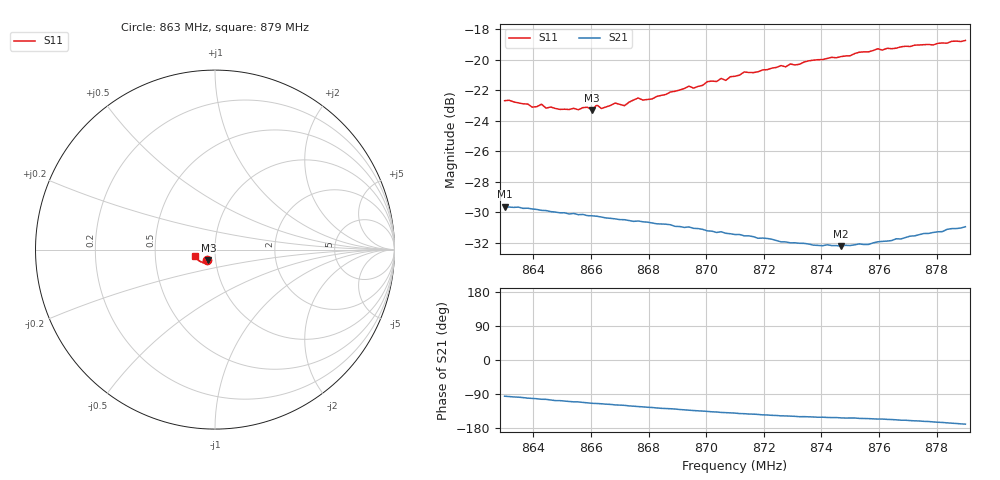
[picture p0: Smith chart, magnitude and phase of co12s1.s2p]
# HZ S RI R 50
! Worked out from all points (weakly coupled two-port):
!   101 points, 863 MHz to 879 MHz, reference 50 ohm
!   highest |S21| = -29.63 dB at 863 MHz (marker M1); lowest = -32.2 dB at 874.68 MHz (marker M2)
!   lowest |S11| = -23.3 dB at 866.04 MHz (marker M3), VSWR 1.15, Z = 46.2 - j5.36 ohm
!   |S11| at or under -10 dB: start of sweep to end of sweep
!   S12 and S22 are empty: the file has one direction only
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8.63e8  -0.0451 -0.0579  -0.0032 -0.0328  0 0  0 0
8.6396e8  -0.0416 -0.0562  -0.0064 -0.0318  0 0  0 0
8.6428e8  -0.0416 -0.0582  -0.00754 -0.0312  0 0  0 0
8.6444e8  -0.0408 -0.0562  -0.00765 -0.0311  0 0  0 0
8.6492e8  -0.0401 -0.0558  -0.00932 -0.0301  0 0  0 0
8.6572e8  -0.038 -0.0584  -0.0116 -0.0288  0 0  0 0
8.6604e8  -0.0365 -0.0577  -0.0127 -0.028  0 0  0 0
8.662e8  -0.0385 -0.0598  -0.0129 -0.0278  0 0  0 0
8.6636e8  -0.0406 -0.056  -0.0131 -0.0275  0 0  0 0
8.6684e8  -0.0374 -0.0616  -0.0144 -0.0264  0 0  0 0
8.6716e8  -0.0352 -0.0613  -0.0148 -0.026  0 0  0 0
8.6764e8  -0.0387 -0.0642  -0.0161 -0.0249  0 0  0 0
8.678e8  -0.0374 -0.0636  -0.0163 -0.0245  0 0  0 0
8.6844e8  -0.0382 -0.0662  -0.0176 -0.0229  0 0  0 0
8.71e8  -0.0507 -0.0723  -0.0205 -0.0171  0 0  0 0
8.7132e8  -0.0532 -0.0741  -0.0207 -0.0164  0 0  0 0
8.7164e8  -0.0535 -0.0734  -0.021 -0.0159  0 0  0 0
8.7372e8  -0.069 -0.072  -0.0214 -0.0122  0 0  0 0
8.7468e8  -0.0769 -0.0677  -0.0217 -0.0112  0 0  0 0
8.7596e8  -0.0872 -0.0649  -0.0231 -0.0104  0 0  0 0
8.7644e8  -0.0906 -0.0602  -0.0235 -0.0099  0 0  0 0
8.79e8  -0.1094 -0.0379  -0.0278 -0.00527  0 0  0 0
